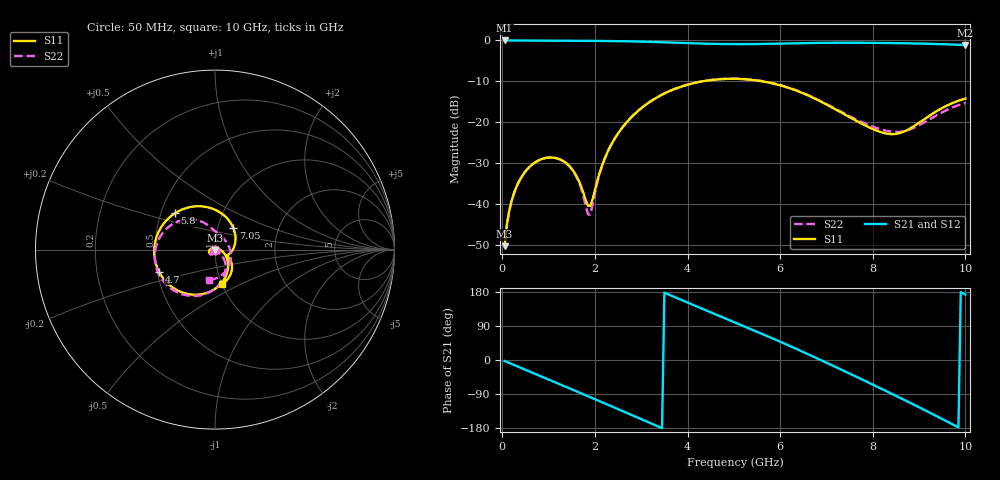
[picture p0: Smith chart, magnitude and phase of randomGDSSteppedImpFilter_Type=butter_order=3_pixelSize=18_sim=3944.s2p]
! freq	dB(S11)	phase(S11)	dB(S12)	phase(S12)
!  dB(S21)	phase(S21)	dB(S22)	phase(S22)
!S-par simulation data
#  GHz  S  DB  R 50
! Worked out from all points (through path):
!   200 points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, 50 MHz to 10 GHz, reference 50 ohm
!   highest |S21| = -0.01 dB at 50 MHz (marker M1); lowest = -1.1 dB at 10 GHz (marker M2)
!   group delay of S21, straight-line fit = 150 ps
!   lowest |S11| = -50.3 dB at 50 MHz (marker M3), VSWR 1.01, Z = 50.1 - j0.297 ohm
!   |S11| at or under -10 dB: start of sweep to 4.326 GHz; 5.612 GHz to end of sweep
!   |S22| runs from -50.2 to -9.3 dB; largest |S21 - S12| = 0
!   S11 on the Smith chart (normalised r, x): 50 MHz: 1.00, -0.01; 4.7 GHz: 0.51, -0.14; 5.8 GHz: 0.59, +0.26; 7.05 GHz: 1.18, +0.30; 10 GHz: 1.00, -0.40
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0.05  -50.28 -76.0  -0.01 -2.7  -0.01 -2.7  -50.21 -76.0
0.15  -41.66 -92.1  -0.02 -7.8  -0.02 -7.8  -41.63 -91.0
0.25  -37.42 -100.4  -0.03 -12.9  -0.03 -12.9  -37.40 -98.5
0.7  -29.88 -128.9  -0.05 -36.1  -0.05 -36.1  -29.87 -123.0
1.35  -29.74 -170.7  -0.08 -69.6  -0.08 -69.6  -29.80 -152.0
1.75  -37.21 140.4  -0.10 -90.3  -0.10 -90.3  -38.02 -149.3
1.9  -40.44 71.4  -0.11 -98.2  -0.11 -98.2  -42.60 -85.4
2.15  -30.70 -1.2  -0.13 -111.2  -0.13 -111.2  -30.87 -38.1
2.4  -24.51 -24.7  -0.16 -124.4  -0.16 -124.4  -24.53 -42.9
2.9  -17.54 -57.5  -0.26 -150.8  -0.26 -150.8  -17.52 -64.1
3.4  -13.56 -86.6  -0.43 -177.2  -0.43 -177.2  -13.53 -87.9
4  -10.83 -120.1  -0.67 151.6  -0.67 151.6  -10.79 -116.5
4.7  -9.49 -158.6  -0.87 115.8  -0.87 115.8  -9.44 -149.1
5.05  -9.40 -178.0  -0.91 98.0  -0.91 98.0  -9.34 -165.0
5.8  -10.41 138.0  -0.83 59.0  -0.83 59.0  -10.33 161.6
6.7  -13.95 77.3  -0.63 9.8  -0.63 9.8  -13.84 124.6
7.05  -15.97 50.6  -0.58 -10.0  -0.58 -10.0  -15.83 112.3
7.75  -20.29 -2.8  -0.58 -50.3  -0.58 -50.3  -19.90 88.7
8.35  -22.86 -27.5  -0.64 -85.6  -0.64 -85.6  -22.21 51.4
8.8  -21.57 -29.7  -0.72 -112.6  -0.72 -112.6  -21.77 4.8
9.3  -17.84 -42.6  -0.86 -143.3  -0.86 -143.3  -18.81 -45.5
10  -14.22 -78.1  -1.12 172.7  -1.12 172.7  -15.31 -100.4
